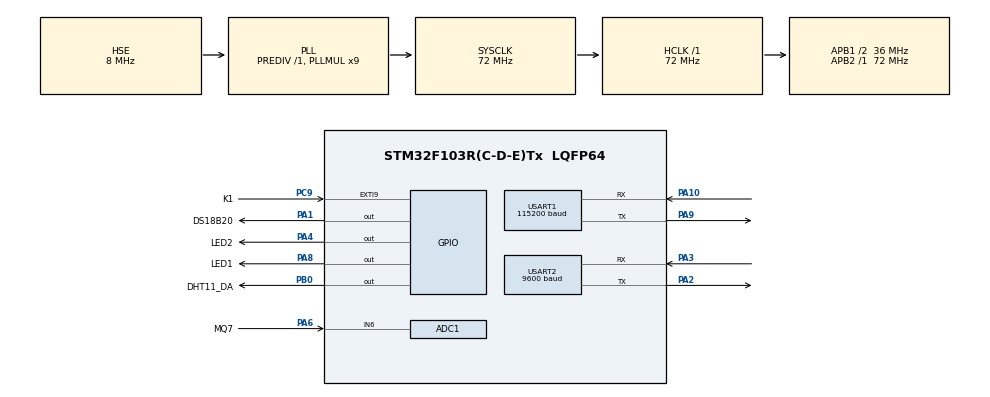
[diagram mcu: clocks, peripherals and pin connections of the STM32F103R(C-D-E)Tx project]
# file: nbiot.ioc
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ADC1.Channel-0\#ChannelRegularConversion=ADC_CHANNEL_6
ADC1.ContinuousConvMode=ENABLE
ADC1.EnableInjectedConversion=DISABLE
ADC1.InjNumberOfConversion=0
ADC1.NbrOfConversion=1
ADC1.NbrOfConversionFlag=1
ADC1.Rank-0\#ChannelRegularConversion=1
ADC1.SamplingTime-0\#ChannelRegularConversion=ADC_SAMPLETIME_7CYCLES_5
ADC1.master=1
Dma.ADC1.0.Direction=DMA_PERIPH_TO_MEMORY
Dma.ADC1.0.Instance=DMA1_Channel1
Dma.ADC1.0.MemDataAlignment=DMA_MDATAALIGN_WORD
Dma.ADC1.0.MemInc=DMA_MINC_ENABLE
Dma.ADC1.0.Mode=DMA_CIRCULAR
Dma.ADC1.0.PeriphDataAlignment=DMA_PDATAALIGN_WORD
Dma.ADC1.0.PeriphInc=DMA_PINC_DISABLE
Dma.ADC1.0.Priority=DMA_PRIORITY_LOW
Dma.Request0=ADC1
Mcu.Family=STM32F1
Mcu.Name=STM32F103R(C-D-E)Tx
Mcu.Package=LQFP64
NVIC.DMA1_Channel1_IRQn=true\:0\:0\:false\:false\:true\:false\:true\:true
NVIC.EXTI9_5_IRQn=true\:0\:0\:false\:false\:true\:true\:true\:true
NVIC.PriorityGroup=NVIC_PRIORITYGROUP_4
NVIC.TIM2_IRQn=true\:0\:0\:false\:false\:true\:true\:true\:true
NVIC.USART1_IRQn=true\:2\:0\:true\:false\:true\:true\:true\:true
NVIC.USART2_IRQn=true\:2\:0\:true\:false\:true\:true\:true\:true
PA1.GPIO_Label=DS18B20
PA1.GPIO_ModeDefaultOutputPP=GPIO_MODE_OUTPUT_PP
PA1.GPIO_PuPd=GPIO_NOPULL
PA1.GPIO_Speed=GPIO_SPEED_FREQ_HIGH
PA1.PinState=GPIO_PIN_SET
PA1.Signal=GPIO_Output
PA10.Mode=Asynchronous
PA10.Signal=USART1_RX
PA2.Mode=Asynchronous
PA2.Signal=USART2_TX
PA3.Mode=Asynchronous
PA3.Signal=USART2_RX
PA4.GPIO_Label=LED2
PA4.GPIO_ModeDefaultOutputPP=GPIO_MODE_OUTPUT_PP
PA4.GPIO_PuPd=GPIO_NOPULL
PA4.PinState=GPIO_PIN_RESET
PA4.Signal=GPIO_Output
PA6.GPIO_Label=MQ7
PA6.Signal=ADCx_IN6
PA8.GPIO_Label=LED1
PA8.GPIO_ModeDefaultOutputPP=GPIO_MODE_OUTPUT_PP
PA8.GPIO_PuPd=GPIO_NOPULL
PA8.PinState=GPIO_PIN_SET
PA8.Signal=GPIO_Output
PA9.Mode=Asynchronous
PA9.Signal=USART1_TX
PB0.GPIO_Label=DHT11_DA
PB0.GPIO_PuPd=GPIO_PULLUP
PB0.Signal=GPIO_Output
PC14-OSC32_IN.Mode=LSE-External-Oscillator
PC14-OSC32_IN.Signal=RCC_OSC32_IN
PC15-OSC32_OUT.Mode=LSE-External-Oscillator
PC15-OSC32_OUT.Signal=RCC_OSC32_OUT
PC9.GPIO_Label=K1
PC9.GPIO_ModeDefaultEXTI=GPIO_MODE_IT_FALLING
PC9.GPIO_PuPd=GPIO_PULLUP
PC9.Signal=GPXTI9
PD0-OSC_IN.Mode=HSE-External-Oscillator
PD0-OSC_IN.Signal=RCC_OSC_IN
PD1-OSC_OUT.Mode=HSE-External-Oscillator
PD1-OSC_OUT.Signal=RCC_OSC_OUT
ProjectManager.HeapSize=0x200
ProjectManager.StackSize=0x400
ProjectManager.TargetToolchain=STM32CubeIDE
RCC.ADCPresc=RCC_ADCPCLK2_DIV6
RCC.AHBFreq_Value=72000000
RCC.APB1CLKDivider=RCC_HCLK_DIV2
RCC.APB1Freq_Value=36000000
RCC.APB1TimFreq_Value=72000000
RCC.APB2Freq_Value=72000000
RCC.APB2TimFreq_Value=72000000
RCC.HCLKFreq_Value=72000000
RCC.PLLMUL=RCC_PLL_MUL9
RCC.PLLSourceVirtual=RCC_PLLSOURCE_HSE
RCC.SYSCLKFreq_VALUE=72000000
RCC.SYSCLKSource=RCC_SYSCLKSOURCE_PLLCLK
RCC.USBFreq_Value=72000000
SH.ADCx_IN6.0=ADC1_IN6,IN6
TIM2.Prescaler=72-1
USART1.BaudRate=115200
USART1.VirtualMode=VM_ASYNC
USART2.BaudRate=9600
USART2.VirtualMode=VM_ASYNC
VP_SYS_VS_ND.Mode=No_Debug
VP_TIM2_VS_ClockSourceINT.Mode=Internal
board=custom

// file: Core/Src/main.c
/* USER CODE BEGIN Header */
/**
  ******************************************************************************
  * @file           : main.c
  * @brief          : Main program body
  ******************************************************************************
  * @attention
  *
  * Copyright (c) 2023 STMicroelectronics.
  * All rights reserved.
  *
  * This software is licensed under terms that can be found in the LICENSE file
  * in the root directory of this software component.
  * If no LICENSE file comes with this software, it is provided AS-IS.
  *
  ******************************************************************************
  */
/* USER CODE END Header */
#include "main.h"
#include "adc.h"
#include "dma.h"
#include "tim.h"
#include "usart.h"
#include "gpio.h"

/* USER CODE BEGIN Includes */
#include "bc35.h"
#include "ds18b20.h"
#include "stdio.h"
#include "mq7.h"
#include "dht11.h"
/* USER CODE END Includes */

void SystemClock_Config(void);

int main(void)
{

  /* MCU Configuration--------------------------------------------------------*/

  /* Reset of all peripherals, Initializes the Flash interface and the Systick. */
  HAL_Init();

  /* Configure the system clock */
  SystemClock_Config();

  /* Initialize all configured peripherals */
  MX_GPIO_Init();
  MX_DMA_Init();
  MX_USART1_UART_Init();
  MX_USART2_UART_Init();
  MX_TIM2_Init();
  MX_ADC1_Init();
  /* USER CODE BEGIN 2 */

    HAL_Delay(1000);
	uint16_t  DHT11_BUF[2]={0};
	char display_temp[20] = {0};
    char display_mq[20] = {0};
    float temperature;
    char str_temp[20]={0};
    char str_humi[20]={0};
	HAL_UART_Receive_IT(&huart1, &HLPUSART_NewData, 1);
	HLPUSART_RX_STA = 0;
	HAL_UART_Receive_IT(&huart2, &USART2_NewData, 1);
	USART2_RX_STA = 0;
    while(DS18B20_Init()){
        uart_printf(&huart1,"DS18B20 checked failed!!!\r\n");
        HAL_Delay(500);
    }
    while(DHT11_Init()){
        uart_printf(&huart1,"DHT11 checked failed!!!\r\n");
        HAL_Delay(500);
    }
    float mq;
    Init_MQ7();
	nb_init();
    nb_reg();
    nb_sub();

  /* USER CODE END 2 */

  /* Infinite loop */
  while (1)
  {

    /* USER CODE BEGIN 3 */
		DHT11_ReadData(DHT11_BUF);
        sprintf(str_temp,"%d.%d",DHT11_BUF[1]/10,DHT11_BUF[1]%10);
        sprintf(str_humi,"%d.%d",DHT11_BUF[0]/10,DHT11_BUF[0]%10);
//		printf("%s,%s\r\n",str_temp,str_humi);
//       HAL_Delay(2000);
      float crc=DS18B20_Get_Temp();
      if(crc>0.0)temperature = crc;
      sprintf(display_temp,"%.1f",temperature);
      mq=MQ7_GetPPM();
      sprintf(display_mq,"%.2f",mq);
//      printf("%s,%s\r\n",display_temp,display_mq);
      nb_send(str_temp,str_humi,display_mq);
      HAL_Delay(200);
//	 if(HLPUSART_RX_STA&0xC000){
////         uart_printf(&huart2,"%.*s\r\n",HLPUSART_RX_STA&0X0FFF, HLPUSART_RX_BUF);
//		  nb_printf("%.*s\r\n",HLPUSART_RX_STA&0X0FFF, HLPUSART_RX_BUF);
//		  HLPUSART_RX_STA=0;
//		  HAL_Delay(100);
//	  }
//	  if(USART2_RX_STA&0xC000){
//          uart_printf(&huart1,"%.*s\r\n",USART2_RX_STA&0X0FFF, USART2_RX_BUF);
//  		  USART2_RX_STA=0;
//  		  HAL_Delay(100);
//  	  }

      char str_rec=nb_recv();
      if(str_rec=='l'){
          HAL_GPIO_WritePin(LED2_GPIO_Port, LED2_Pin, GPIO_PIN_RESET);
              printf("off %c\r\n", str_rec);
          }
      if(str_rec=='r'){
              HAL_GPIO_WritePin(LED2_GPIO_Port,LED2_Pin,GPIO_PIN_SET);
              printf("on %c\r\n", str_rec);
          }
//      HAL_Delay(800);
		HAL_GPIO_TogglePin(GPIOA, GPIO_PIN_8);

  }

  /* USER CODE END 3 */
}

void SystemClock_Config(void)
{
  RCC_OscInitTypeDef RCC_OscInitStruct = {0};
  RCC_ClkInitTypeDef RCC_ClkInitStruct = {0};
  RCC_PeriphCLKInitTypeDef PeriphClkInit = {0};

  /** Initializes the RCC Oscillators according to the specified parameters
  * in the RCC_OscInitTypeDef structure.
  */
  RCC_OscInitStruct.OscillatorType = RCC_OSCILLATORTYPE_HSE;
  RCC_OscInitStruct.HSEState = RCC_HSE_ON;
  RCC_OscInitStruct.HSEPredivValue = RCC_HSE_PREDIV_DIV1;
  RCC_OscInitStruct.HSIState = RCC_HSI_ON;
  RCC_OscInitStruct.PLL.PLLState = RCC_PLL_ON;
  RCC_OscInitStruct.PLL.PLLSource = RCC_PLLSOURCE_HSE;
  RCC_OscInitStruct.PLL.PLLMUL = RCC_PLL_MUL9;
  if (HAL_RCC_OscConfig(&RCC_OscInitStruct) != HAL_OK)
  {
    Error_Handler();
  }

  /** Initializes the CPU, AHB and APB buses clocks
  */
  RCC_ClkInitStruct.ClockType = RCC_CLOCKTYPE_HCLK|RCC_CLOCKTYPE_SYSCLK
                              |RCC_CLOCKTYPE_PCLK1|RCC_CLOCKTYPE_PCLK2;
  RCC_ClkInitStruct.SYSCLKSource = RCC_SYSCLKSOURCE_PLLCLK;
  RCC_ClkInitStruct.AHBCLKDivider = RCC_SYSCLK_DIV1;
  RCC_ClkInitStruct.APB1CLKDivider = RCC_HCLK_DIV2;
  RCC_ClkInitStruct.APB2CLKDivider = RCC_HCLK_DIV1;

  if (HAL_RCC_ClockConfig(&RCC_ClkInitStruct, FLASH_LATENCY_2) != HAL_OK)
  {
    Error_Handler();
  }
  PeriphClkInit.PeriphClockSelection = RCC_PERIPHCLK_ADC;
  PeriphClkInit.AdcClockSelection = RCC_ADCPCLK2_DIV6;
  if (HAL_RCCEx_PeriphCLKConfig(&PeriphClkInit) != HAL_OK)
  {
    Error_Handler();
  }
}

void Error_Handler(void)
{
  __disable_irq();
  while (1)
  {
  }
}
